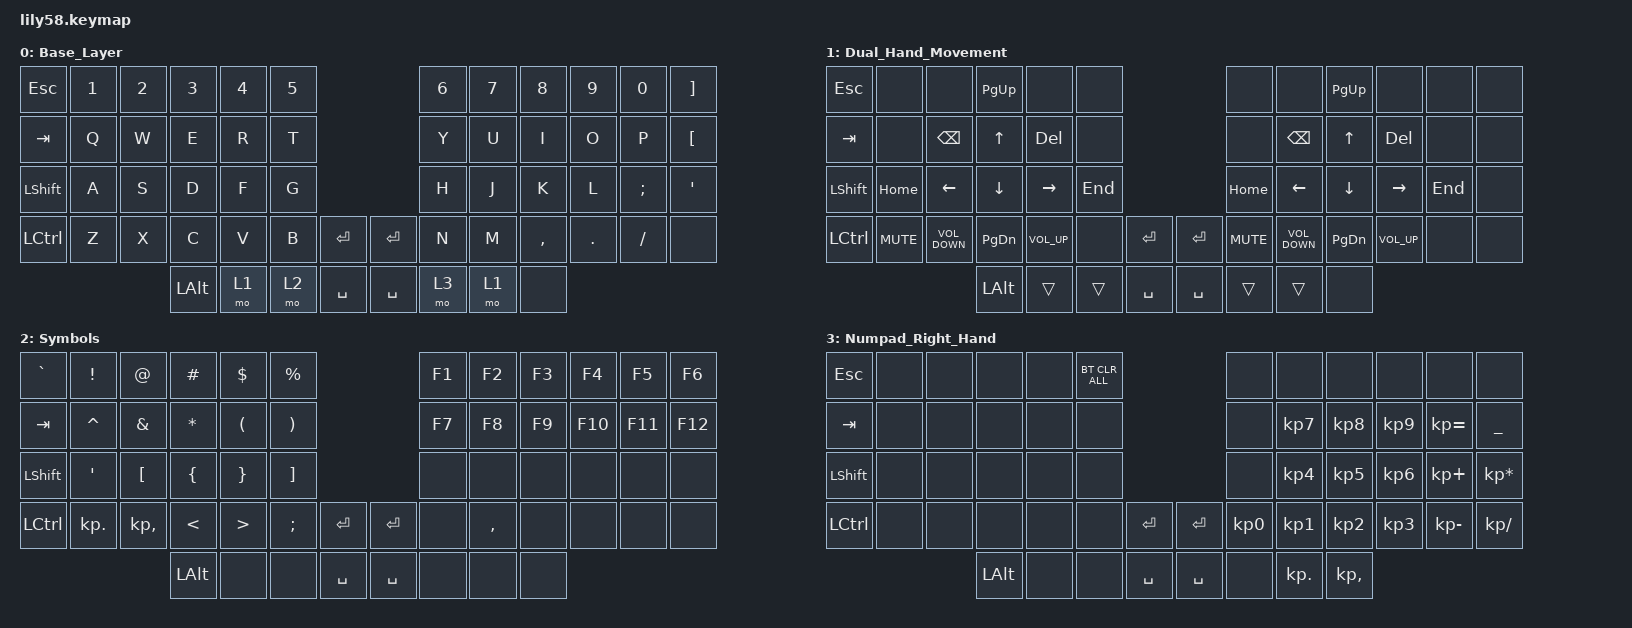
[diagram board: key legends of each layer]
/*
 * Copyright (c) 2020 The ZMK Contributors
 *
 * SPDX-License-Identifier: MIT
 */

#include <behaviors.dtsi>
#include <dt-bindings/zmk/bt.h>
#include <dt-bindings/zmk/keys.h>

/ {
    combos {
        compatible = "zmk,combos";

        combo_esc {
            timeout-ms = <50>;
            key-positions = <0 1>;
            bindings = <&kp ESC>;
        };
    };

    behaviors {
        ss_hs_modmorph: ss_hs_modmorph {
            compatible = "zmk,behavior-mod-morph";
            label = "SS_HS_MODMORPH";
            bindings = <&kp M>, <&kp RIGHT_BRACKET>;

            #binding-cells = <0>;
            mods = <(MOD_LSFT|MOD_RSFT)>;
        };

        kh_hs_tapdance: kh_hs_tapdance {
            compatible = "zmk,behavior-tap-dance";
            label = "KH_HS_TAPDANCE";
            #binding-cells = <0>;
            tapping-term-ms = <200>;
            bindings = <&kp LEFT_BRACKET>, <&kp RIGHT_BRACKET>;
        };

        hrm: hrm {
            compatible = "zmk,behavior-hold-tap";
            #binding-cells = <2>;
            flavor = "tap-preferred";
            tapping-term-ms = <200>;
            quick-tap-ms = <200>;
            require-prior-idle-ms = <125>;
            bindings = <&kp>, <&kp>;
        };
    };

    keymap {
        compatible = "zmk,keymap";

        Base_Layer {
            bindings = <
&kp ESC    &kp N1  &kp N2  &kp N3    &kp N4  &kp N5                          &kp N6  &kp N7  &kp N8     &kp N9   &kp N0    &kp RBKT
&kp TAB    &kp Q   &kp W   &kp E     &kp R   &kp T                           &kp Y   &kp U   &kp I      &kp O    &kp P     &kp LBKT
&kp LSHFT  &kp A   &kp S   &kp D     &kp F   &kp G                           &kp H   &kp J   &kp K      &kp L    &kp SEMI  &kp SQT
&kp LCTRL  &kp Z   &kp X   &kp C     &kp V   &kp B   &kp RET      &kp RET    &kp N   &kp M   &kp COMMA  &kp DOT  &kp FSLH  &none
                           &kp LALT  &mo 1   &mo 2   &kp SPACE    &kp SPACE  &mo 3   &mo 1   &none
            >;
        };

        Dual_Hand_Movement {
            bindings = <
&kp ESC    &none       &none              &kp PG_UP  &none            &none                            &none       &none              &kp PG_UP  &none            &none    &none
&kp TAB    &none       &kp BSPC           &kp UP     &kp DEL          &none                            &none       &kp BSPC           &kp UP     &kp DEL          &none    &none
&kp LSHFT  &kp HOME    &kp LEFT           &kp DOWN   &kp RIGHT        &kp END                          &kp HOME    &kp LEFT           &kp DOWN   &kp RIGHT        &kp END  &none
&kp LCTRL  &kp C_MUTE  &kp C_VOLUME_DOWN  &kp PG_DN  &kp C_VOLUME_UP  &none    &kp RET      &kp RET    &kp C_MUTE  &kp C_VOLUME_DOWN  &kp PG_DN  &kp C_VOLUME_UP  &none    &none
                                          &kp LALT   &trans           &trans   &kp SPACE    &kp SPACE  &trans      &trans             &none
            >;
        };

        Symbols {
            bindings = <
&kp GRAVE  &kp EXCLAMATION   &kp AT_SIGN    &kp POUND       &kp DOLLAR            &kp PERCENT                                    &kp F1  &kp F2     &kp F3  &kp F4   &kp F5   &kp F6
&kp TAB    &kp CARET         &kp AMPERSAND  &kp ASTERISK    &kp LEFT_PARENTHESIS  &kp RIGHT_PARENTHESIS                          &kp F7  &kp F8     &kp F9  &kp F10  &kp F11  &kp F12
&kp LSHFT  &kp SINGLE_QUOTE  &kp LBKT       &kp LEFT_BRACE  &kp RIGHT_BRACE       &kp RBKT                                       &none   &none      &none   &none    &none    &none
&kp LCTRL  &kp KP_DOT        &kp KP_COMMA   &kp LESS_THAN   &kp GREATER_THAN      &kp SEMI               &kp RET      &kp RET    &none   &kp COMMA  &none   &none    &none    &none
                                            &kp LALT        &none                 &none                  &kp SPACE    &kp SPACE  &none   &none      &none
            >;
        };

        Numpad_Right_Hand {
            bindings = <
&kp ESC    &none  &none  &none     &none  &bt BT_CLR_ALL                          &none            &none            &none            &none            &none         &none
&kp TAB    &none  &none  &none     &none  &none                                   &none            &kp KP_NUMBER_7  &kp KP_NUMBER_8  &kp KP_NUMBER_9  &kp KP_EQUAL  &kp UNDERSCORE
&kp LSHFT  &none  &none  &none     &none  &none                                   &none            &kp KP_NUMBER_4  &kp KP_NUMBER_5  &kp KP_NUMBER_6  &kp KP_PLUS   &kp KP_MULTIPLY
&kp LCTRL  &none  &none  &none     &none  &none           &kp RET      &kp RET    &kp KP_NUMBER_0  &kp KP_NUMBER_1  &kp KP_NUMBER_2  &kp KP_NUMBER_3  &kp KP_MINUS  &kp KP_DIVIDE
                         &kp LALT  &none  &none           &kp SPACE    &kp SPACE  &none            &kp KP_DOT       &kp KP_COMMA
            >;
        };
    };
};
